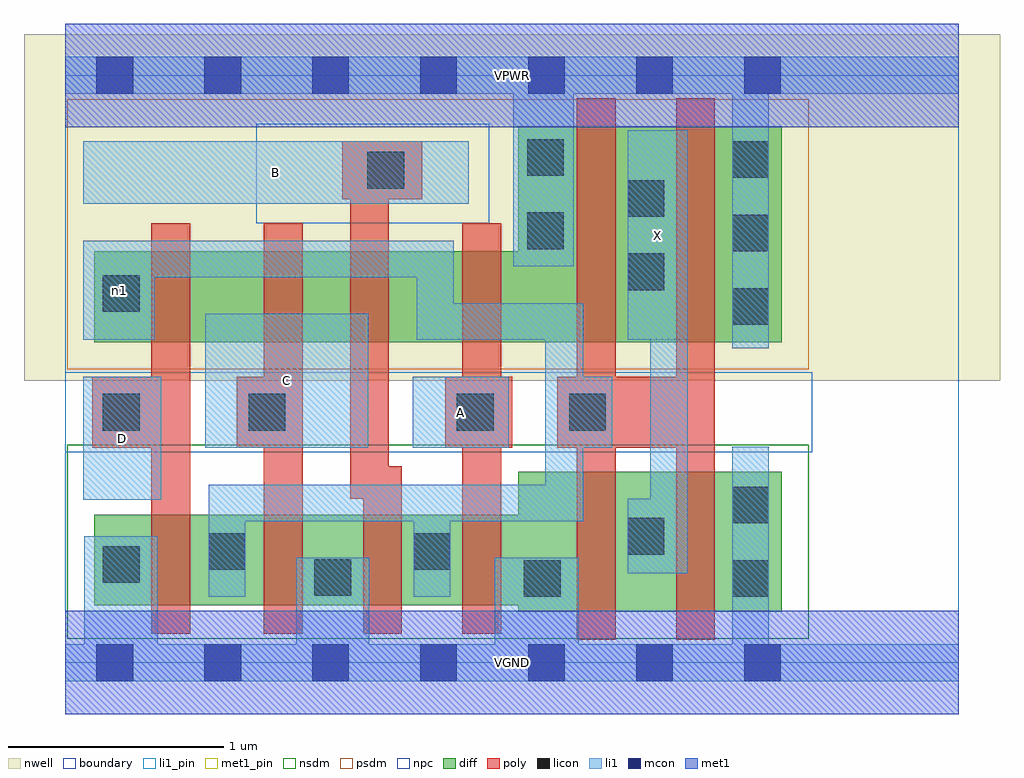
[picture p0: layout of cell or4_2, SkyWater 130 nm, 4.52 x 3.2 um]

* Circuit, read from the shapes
.subckt or4_2 A B C D VGND VPWR X n1
XM1 n1 D VGND VSUBS sky130_fd_pr__nfet_01v8 w=0.42 l=0.18
XM2 VGND C n1 VSUBS sky130_fd_pr__nfet_01v8 w=0.42 l=0.18
XM3 n1 B VGND VSUBS sky130_fd_pr__nfet_01v8 w=0.42 l=0.18
XM4 VGND A n1 VSUBS sky130_fd_pr__nfet_01v8 w=0.42 l=0.18
XM5 X n1 VGND VSUBS sky130_fd_pr__nfet_01v8 w=0.65 l=0.18 m=2
XM6 n2 D n1 n3 sky130_fd_pr__pfet_01v8 w=0.42 l=0.18
XM7 n4 C n2 n3 sky130_fd_pr__pfet_01v8 w=0.42 l=0.18
XM8 n5 B n4 n3 sky130_fd_pr__pfet_01v8 w=0.42 l=0.18
XM9 VPWR A n5 n3 sky130_fd_pr__pfet_01v8 w=0.42 l=0.18
XM10 X n1 VPWR n3 sky130_fd_pr__pfet_01v8 w=1 l=0.18 m=2
.ends

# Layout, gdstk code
import gdstk
lib = gdstk.Library(unit=1e-6, precision=1e-09)
def R(c, l, rs):  # rectangles x0, y0, x1, y1
    for r in rs: c.add(gdstk.rectangle(r[:2], r[2:], *l))
def A(c, l, x, y, w, h, nx, ny, dx, dy):  # array of equal rectangles
    R(c, l, [(x+i*dx, y+j*dy, x+i*dx+w, y+j*dy+h) for i in range(nx) for j in range(ny)])
nwell = (64, 20)
diff = (65, 20)
poly = (66, 20)
licon = (66, 44)
li1_pin = (67, 16)
li1 = (67, 20)
mcon = (67, 44)
met1_pin = (68, 16)
met1 = (68, 20)
nsdm = (93, 44)
psdm = (94, 20)
npc = (95, 20)
boundary = (235, 4)

or4_2 = lib.new_cell('or4_2')
R(or4_2, nwell, [(-0.19,1.305,4.33,2.91), (0,1.305,4.14,2.91)])
R(or4_2, diff, [(2.1,0.235,3.32,0.885), (0.135,0.265,3.32,0.685), (0.135,1.485,3.32,1.905), (2.1,1.485,3.32,2.485)])
R(or4_2, poly, [(2.37,0.105,2.55,2.615), (2.83,0.105,3.01,2.615), (0.4,0.135,0.58,2.035), (0.92,0.135,1.1,2.035), (1.38,0.135,1.56,0.91), (1.84,0.135,2.02,2.035), (1.32,0.76,1.5,2.415), (0.125,0.995,0.58,1.325), (0.795,0.995,1.1,1.325), (1.76,0.995,2.07,1.325), (2.28,0.995,3.01,1.325), (1.285,2.145,1.655,2.415)])
A(or4_2, licon, 3.09, 1.565, 0.17, 0.17, 1, 3, 0, 0.34)
R(or4_2, licon, [(2.125,0.305,2.295,0.475), (3.09,0.305,3.26,0.475), (1.155,0.31,1.325,0.48), (0.175,0.37,0.345,0.54), (0.665,0.43,0.835,0.6), (1.615,0.43,1.785,0.6), (2.605,0.5,2.775,0.67), (3.09,0.645,3.26,0.815), (0.175,1.075,0.345,1.245), (0.85,1.075,1.02,1.245), (1.815,1.075,1.985,1.245), (2.335,1.075,2.505,1.245), (0.175,1.625,0.345,1.795), (2.605,1.725,2.775,1.895), (2.14,1.915,2.31,2.085), (2.605,2.065,2.775,2.235), (1.4,2.195,1.57,2.365), (2.14,2.255,2.31,2.425)])
R(or4_2, li1_pin, [(0.085,0.755,0.445,1.325), (0.65,0.995,1.405,1.615), (1.61,0.995,2.055,1.325), (2.605,1.495,2.885,2.465), (0.085,2.125,1.87,2.415)])
R(or4_2, li1, [(0,-0.085,4.14,0.085), (0.09,-0.085,0.43,0.585), (1.07,-0.085,1.41,0.485), (1.99,-0.085,2.38,0.485), (3.09,-0.085,3.26,1), (0.665,0.305,0.835,0.825), (1.615,0.305,1.785,0.825), (2.605,0.415,2.885,0.76), (2.71,0.415,2.885,2.465), (0.665,0.655,2.4,0.825), (2.225,0.655,2.4,1.665), (0.085,0.755,0.445,1.325), (0.65,0.995,1.405,1.615), (1.61,0.995,2.055,1.325), (2.225,0.995,2.535,1.325), (3.09,1.455,3.26,2.805), (0.085,1.495,0.415,1.955), (1.63,1.495,2.4,1.665), (1.63,1.495,1.8,1.955), (2.605,1.495,2.885,2.465), (0.085,1.785,1.8,1.955), (2.075,1.835,2.355,2.805), (0.085,2.125,1.87,2.415), (0,2.635,4.14,2.805)])
A(or4_2, mcon, 0.145, -0.085, 0.17, 0.17, 7, 2, 0.5, 2.72)
R(or4_2, met1_pin, [(0,-0.24,4.14,0.24), (0,2.48,4.14,2.96)])
R(or4_2, met1, [(0,-0.24,4.14,0.24), (0,2.48,4.14,2.96)])
R(or4_2, nsdm, [(0.01,0.11,3.445,1.01)])
R(or4_2, psdm, [(0.01,1.36,3.445,2.61)])
R(or4_2, npc, [(0,0.975,3.46,1.345), (0.885,2.035,1.965,2.495)])
R(or4_2, boundary, [(0,0,4.14,2.72)])
or4_2.add(gdstk.Label('A', (1.832,1.16), layer=67, texttype=5))
or4_2.add(gdstk.Label('B', (0.977,2.27), layer=67, texttype=5))
or4_2.add(gdstk.Label('C', (1.027,1.305), layer=67, texttype=5))
or4_2.add(gdstk.Label('D', (0.265,1.04), layer=67, texttype=5))
or4_2.add(gdstk.Label('X', (2.745,1.98), layer=67, texttype=5))
or4_2.add(gdstk.Label('n1', (0.25,1.725), layer=67, texttype=5))
or4_2.add(gdstk.Label('VPWR', (2.07,2.72), layer=68, texttype=5))
or4_2.add(gdstk.Label('VGND', (2.07,0), layer=68, texttype=5))
or4_2.add(gdstk.Label('A', (1.832,1.16), layer=67, texttype=16))
or4_2.add(gdstk.Label('B', (0.977,2.27), layer=67, texttype=16))
or4_2.add(gdstk.Label('C', (1.027,1.305), layer=67, texttype=16))
or4_2.add(gdstk.Label('D', (0.265,1.04), layer=67, texttype=16))
or4_2.add(gdstk.Label('X', (2.745,1.98), layer=67, texttype=16))
or4_2.add(gdstk.Label('VPWR', (2.07,2.72), layer=68, texttype=16))
or4_2.add(gdstk.Label('VGND', (2.07,0), layer=68, texttype=16))

lib.write_gds('or4_2.gds')
